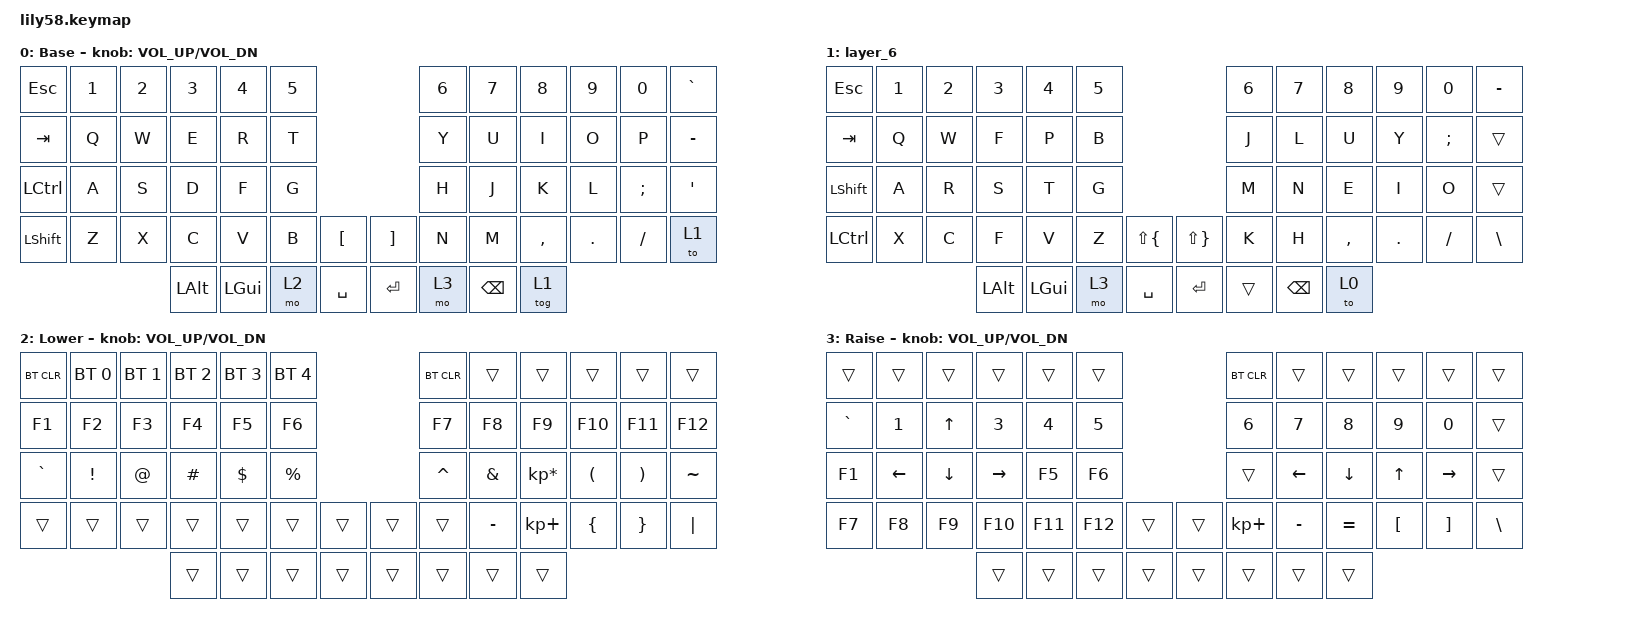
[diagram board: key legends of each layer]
/*
 * Copyright (c) 2020 The ZMK Contributors
 *
 * SPDX-License-Identifier: MIT
 */

#include <behaviors.dtsi>
#include <dt-bindings/zmk/bt.h>
#include <dt-bindings/zmk/keys.h>

/ {
    keymap {
        compatible = "zmk,keymap";

        default_layer {
            // ------------------------------------------------------------------------------------------------------------
            // |  ESC  |  1  |  2  |  3   |  4   |  5   |                   |  6   |  7    |  8    |  9   |   0   |   `   |
            // |  TAB  |  Q  |  W  |  E   |  R   |  T   |                   |  Y   |  U    |  I    |  O   |   P   |   -   |
            // |  CTRL |  A  |  S  |  D   |  F   |  G   |                   |  H   |  J    |  K    |  L   |   ;   |   '   |
            // | SHIFT |  Z  |  X  |  C   |  V   |  B   |   "["  |  |  "]"  |  N   |  M    |  ,    |  .   |   /   | SHIFT |
            //                     | ALT  | GUI  | LOWER|  SPACE |  | ENTER | RAISE| BSPC  | GUI   |

            display-name = "Base";
            bindings = <
&kp ESC    &kp NUMBER_1  &kp N2  &kp N3    &kp N4    &kp N5                         &kp N6  &kp N7    &kp N8     &kp N9   &kp N0    &kp GRAVE
&kp TAB    &kp Q         &kp W   &kp E     &kp R     &kp T                          &kp Y   &kp U     &kp I      &kp O    &kp P     &kp MINUS
&kp LCTRL  &kp A         &kp S   &kp D     &kp F     &kp G                          &kp H   &kp J     &kp K      &kp L    &kp SEMI  &kp SQT
&kp LSHFT  &kp Z         &kp X   &kp C     &kp V     &kp B   &kp LBKT     &kp RBKT  &kp N   &kp M     &kp COMMA  &kp DOT  &kp FSLH  &to 1
                                 &kp LALT  &kp LGUI  &mo 2   &kp SPACE    &kp RET   &mo 3   &kp BSPC  &tog 1
            >;

            sensor-bindings = <&inc_dec_kp C_VOL_UP C_VOL_DN>;
        };

        layer_6 {
            bindings = <
&kp ESC    &kp N1  &kp N2  &kp N3        &kp N4        &kp N5                                &kp N6  &kp N7         &kp N8     &kp N9   &kp N0    &kp MINUS
&kp TAB    &kp Q   &kp W   &kp F         &kp P         &kp B                                 &kp J   &kp L          &kp U      &kp Y    &kp SEMI  &trans
&kp LSHFT  &kp A   &kp R   &kp S         &kp T         &kp G                                 &kp M   &kp N          &kp E      &kp I    &kp O     &trans
&kp LCTRL  &kp X   &kp C   &kp F         &kp V         &kp Z   &kp LS(LBRC)    &kp LS(RBRC)  &kp K   &kp H          &kp COMMA  &kp DOT  &kp FSLH  &kp BSLH
                           &kp LEFT_ALT  &kp LEFT_GUI  &mo 3   &kp SPACE       &kp RET       &trans  &kp BACKSPACE  &to 0
            >;
        };

        lower_layer {
            // ------------------------------------------------------------------------------------------------------------
            // | BTCLR | BT1 | BT2 |  BT3 |  BT4 |  BT5 |                   |      |       |       |      |       |       |
            // |  F1   |  F2 |  F3 |  F4  |  F5  |  F6  |                   |  F7  |  F8   |  F9   |  F10 |  F11  |  F12  |
            // |   `   |  !  |  @  |  #   |  $   |  %   |                   |  ^   |  &    |  *    |  (   |   )   |   ~   |
            // |       |     |     |      |      |      |        |  |       |      |  _    |  +    |  {   |   }   |  "|"  |
            //                     |      |      |      |        |  |       |      |       |       |

            display-name = "Lower";
            bindings = <
&bt BT_CLR  &bt BT_SEL 0  &bt BT_SEL 1  &bt BT_SEL 2  &bt BT_SEL 3  &bt BT_SEL 4                    &bt BT_CLR  &trans     &trans           &trans    &trans    &trans
&kp F1      &kp F2        &kp F3        &kp F4        &kp F5        &kp F6                          &kp F7      &kp F8     &kp F9           &kp F10   &kp F11   &kp F12
&kp GRAVE   &kp EXCL      &kp AT        &kp HASH      &kp DOLLAR    &kp PRCNT                       &kp CARET   &kp AMPS   &kp KP_MULTIPLY  &kp LPAR  &kp RPAR  &kp TILDE
&trans      &trans        &trans        &trans        &trans        &trans        &trans    &trans  &trans      &kp MINUS  &kp KP_PLUS      &kp LBRC  &kp RBRC  &kp PIPE
                                        &trans        &trans        &trans        &trans    &trans  &trans      &trans     &trans
            >;

            sensor-bindings = <&inc_dec_kp C_VOL_UP C_VOL_DN>;
        };

        raise_layer {
            // ------------------------------------------------------------------------------------------------------------
            // |       |     |     |      |      |      |                   |      |       |       |      |       |       |
            // |   `   |  1  |  2  |  3   |  4   |  5   |                   |  6   |   7   |   8   |  9   |   0   |       |
            // |   F1  |  F2 |  F3 |  F4  |  F5  |  F6  |                   |      |   <-  |   v   |  ^   |  ->   |       |
            // |   F7  |  F8 |  F9 |  F10 |  F11 |  F12 |        |  |       |  +   |   -   |   =   |  [   |   ]   |   \   |
            //                     |      |      |      |        |  |       |      |       |       |

            display-name = "Raise";
            bindings = <
&trans     &trans          &trans          &trans           &trans   &trans                     &bt BT_CLR   &trans     &trans     &trans    &trans     &trans
&kp GRAVE  &kp N1          &kp UP_ARROW    &kp N3           &kp N4   &kp N5                     &kp N6       &kp N7     &kp N8     &kp N9    &kp N0     &trans
&kp F1     &kp LEFT_ARROW  &kp DOWN_ARROW  &kp RIGHT_ARROW  &kp F5   &kp F6                     &trans       &kp LEFT   &kp DOWN   &kp UP    &kp RIGHT  &trans
&kp F7     &kp F8          &kp F9          &kp F10          &kp F11  &kp F12  &trans    &trans  &kp KP_PLUS  &kp MINUS  &kp EQUAL  &kp LBKT  &kp RBKT   &kp BSLH
                                           &trans           &trans   &trans   &trans    &trans  &trans       &trans     &trans
            >;

            sensor-bindings = <&inc_dec_kp C_VOL_UP C_VOL_DN>;
        };

        extra_1 { status = "reserved"; };

        extra_2 { status = "reserved"; };

        extra_3 { status = "reserved"; };
    };
};
